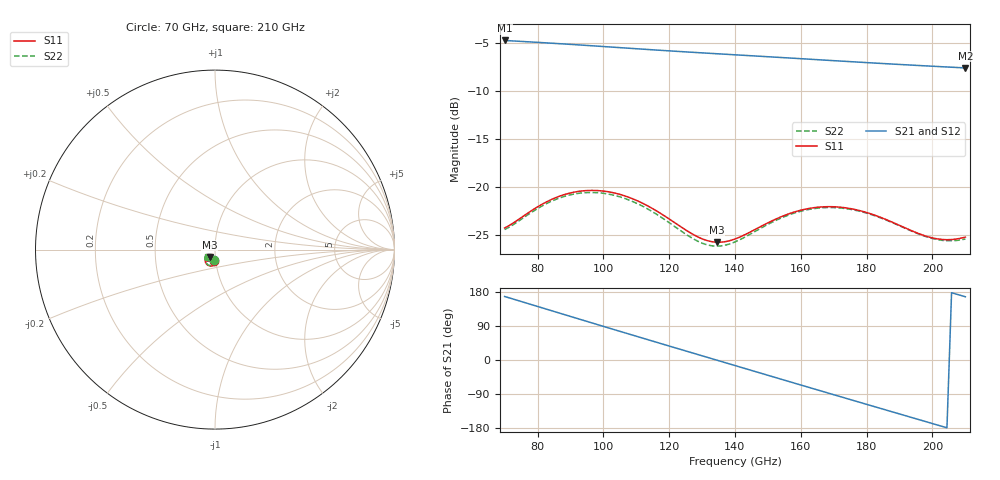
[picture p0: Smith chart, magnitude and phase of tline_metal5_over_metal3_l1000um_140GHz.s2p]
#  GHZ S DB R 50
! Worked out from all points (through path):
!   101 points, 70 GHz to 210 GHz, reference 50 ohm
!   highest |S21| = -4.77 dB at 70 GHz (marker M1); lowest = -7.6 dB at 210 GHz (marker M2)
!   group delay of S21, straight-line fit = 7.15 ps
!   lowest |S11| = -25.8 dB at 134.4 GHz (marker M3), VSWR 1.11, Z = 46.9 - j3.93 ohm
!   |S11| at or under -10 dB: start of sweep to end of sweep
!   |S22| runs from -26.2 to -20.6 dB; largest |S21 - S12| = 6.6e-14
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70  -24.28 -94.3  -4.77 167.7  -4.77 167.7  -24.45 -94.7
75.6  -23.08 -89.7  -4.88 152.9  -4.88 152.9  -23.25 -90.0
82.6  -21.59 -92.8  -5.02 134.5  -5.02 134.5  -21.77 -93.2
88.2  -20.80 -99.2  -5.14 119.7  -5.14 119.7  -20.99 -99.6
93.8  -20.42 -107.0  -5.26 105.0  -5.26 105.0  -20.62 -107.5
99.4  -20.42 -115.3  -5.39 90.4  -5.39 90.4  -20.65 -115.8
105  -20.78 -123.2  -5.52 75.8  -5.52 75.8  -21.04 -123.8
110.6  -21.49 -130.1  -5.65 61.2  -5.65 61.2  -21.79 -130.7
117.6  -22.81 -135.9  -5.80 43.1  -5.80 43.1  -23.17 -136.4
126  -24.70 -135.5  -5.98 21.4  -5.98 21.4  -25.14 -135.5
134.4  -25.76 -125.9  -6.15 -0.2  -6.15 -0.2  -26.17 -124.8
140  -25.43 -118.6  -6.27 -14.6  -6.27 -14.6  -25.73 -117.3
145.6  -24.53 -115.0  -6.38 -29.0  -6.38 -29.0  -24.74 -113.8
152.6  -23.33 -116.0  -6.52 -47.0  -6.52 -47.0  -23.46 -115.2
163.8  -22.18 -125.0  -6.75 -75.7  -6.75 -75.7  -22.27 -124.8
169.4  -22.07 -130.7  -6.86 -90.0  -6.86 -90.0  -22.15 -130.8
175  -22.26 -136.2  -6.98 -104.3  -6.98 -104.3  -22.34 -136.5
180.6  -22.74 -140.8  -7.09 -118.6  -7.09 -118.6  -22.80 -141.4
187.6  -23.65 -144.2  -7.22 -136.3  -7.22 -136.3  -23.70 -145.2
198.8  -25.21 -140.9  -7.43 -164.7  -7.43 -164.7  -25.27 -143.0
204.4  -25.50 -135.5  -7.53 -178.9  -7.53 -178.9  -25.61 -138.2
210  -25.23 -130.2  -7.63 166.9  -7.63 166.9  -25.43 -133.3
